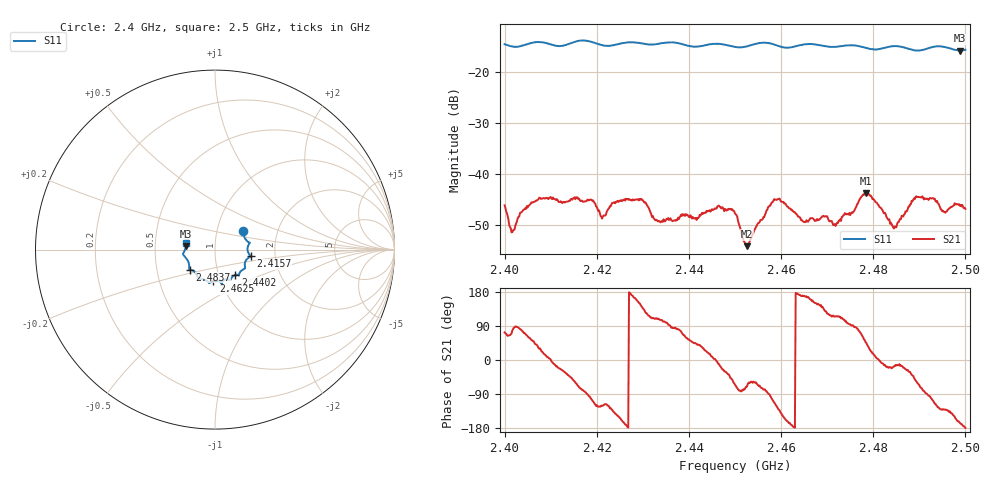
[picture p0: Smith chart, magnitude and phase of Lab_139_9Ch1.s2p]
# Hz S RI R 50
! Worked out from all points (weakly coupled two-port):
!   601 points, 2.4 GHz to 2.5 GHz, reference 50 ohm
!   highest |S21| = -43.74 dB at 2.4783 GHz (marker M1); lowest = -54.1 dB at 2.4527 GHz (marker M2)
!   lowest |S11| = -15.7 dB at 2.4988 GHz (marker M3), VSWR 1.39, Z = 36 + j1.3 ohm
!   |S11| at or under -10 dB: start of sweep to end of sweep
!   S12 and S22 are empty: the file has one direction only
!   S11 on the Smith chart (normalised r, x): 2.4 GHz: 1.33, +0.29; 2.4157 GHz: 1.49, -0.11; 2.4402 GHz: 1.20, -0.35; 2.4625 GHz: 0.92, -0.34; 2.4837 GHz: 0.74, -0.17; 2.5 GHz: 0.72, +0.05
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2.4e9  0.1566 0.1058  0.00146 0.00472  0 0  0 0
2.401667e9  0.1597 0.0807  0.000582 0.00263  0 0  0 0
2.407167e9  0.1947 0.0384  0.00448 0.00333  0 0  0 0
2.415667e9  0.1987 -0.0364  0.00264 -0.00526  0 0  0 0
2.416667e9  0.2015 -0.0398  0.00128 -0.00535  0 0  0 0
2.421333e9  0.1749 -0.0565  -0.00195 -0.00333  0 0  0 0
2.4295e9  0.16 -0.1088  -0.00465 0.00316  0 0  0 0
2.433333e9  0.1355 -0.1337  -0.00113 0.00324  0 0  0 0
2.440167e9  0.1141 -0.1403  0.00233 0.00298  0 0  0 0
2.45e9  0.0642 -0.1656  0.00171 -0.00372  0 0  0 0
2.452667e9  0.042 -0.1753  0.000757 -0.00181  0 0  0 0
2.458333e9  0.0342 -0.1855  -0.00178 -0.00517  0 0  0 0
2.4625e9  -0.00999 -0.177  -0.00432 -0.000419  0 0  0 0
2.466667e9  -0.0335 -0.1865  -0.00338 0.00152  0 0  0 0
2.471833e9  -0.0664 -0.1653  -0.00131 0.00281  0 0  0 0
2.478333e9  -0.1009 -0.1419  0.00441 0.00478  0 0  0 0
2.483333e9  -0.1382 -0.1121  0.00331 -0.00124  0 0  0 0
2.483667e9  -0.1401 -0.1116  0.00307 -0.00108  0 0  0 0
2.489667e9  -0.1495 -0.0662  0.00282 -0.00526  0 0  0 0
2.4955e9  -0.1763 -0.0184  -0.00278 -0.0032  0 0  0 0
2.498833e9  -0.1625 0.0175  -0.00474 -0.00116  0 0  0 0
2.5e9  -0.1628 0.0362  -0.00456 -6.55e-05  0 0  0 0
